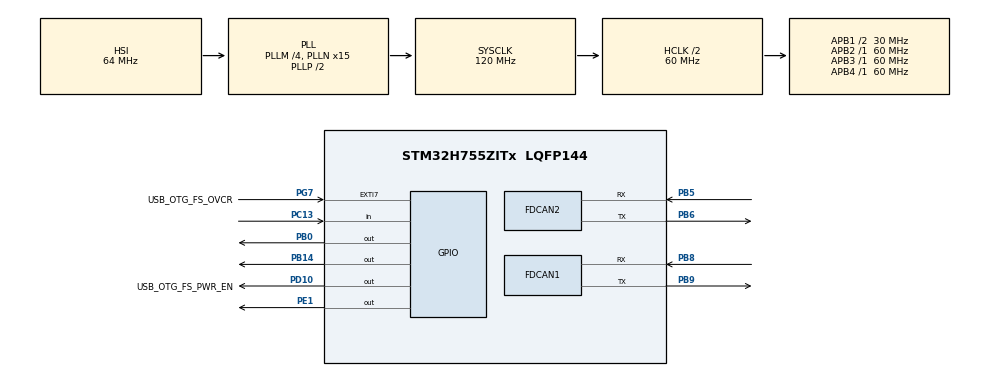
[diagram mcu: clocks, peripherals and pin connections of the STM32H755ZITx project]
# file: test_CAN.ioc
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CortexM4.IPs=FATFS_M4\:I,FREERTOS_M4\:I,IWDG2\:I,RCC,WWDG2\:I,DMA,BDMA,MDMA,NVIC2\:I,ETH,USART3,DEBUG,PDM2PCM_M4\:I,PWR,RESMGR_UTILITY,SYS_M4\:I,USB_DEVICE_M4\:I,USB_HOST_M4\:I,CORTEX_M4\:I,GPIO,OPENAMP_M4\:I,VREFBUF,NUCLEO-H755ZI-Q
CortexM7.IPs=FATFS_M7\:I,FREERTOS_M7\:I,IWDG1\:I,RCC\:I,WWDG1\:I,DMA\:I,BDMA\:I,MDMA\:I,NVIC1\:I,ETH\:I,USART3\:I,USB_OTG_FS\:I,SYS\:I,CORTEX_M7\:I,DEBUG\:I,PDM2PCM_M7\:I,PWR\:I,RESMGR_UTILITY\:I,USB_DEVICE_M7\:I,USB_HOST_M7\:I,GPIO\:I,OPENAMP_M7\:I,VREFBUF\:I,NUCLEO-H755ZI-Q\:I,MEMORYMAP\:I,FDCAN1\:I,FDCAN2\:I
FDCAN1.AutoRetransmission=DISABLE
FDCAN1.CalculateBaudRateNominal=500000
FDCAN1.CalculateTimeBitNominal=2000
FDCAN1.CalculateTimeQuantumNominal=100.0
FDCAN1.Mode=FDCAN_MODE_NORMAL
FDCAN1.NominalPrescaler=3
FDCAN1.NominalTimeSeg1=15
FDCAN1.NominalTimeSeg2=4
FDCAN1.ProtocolException=DISABLE
FDCAN1.RxFifo0ElmtsNbr=16
FDCAN1.RxFifo1ElmtsNbr=0
FDCAN1.StdFiltersNbr=1
FDCAN1.TxFifoQueueElmtsNbr=1
FDCAN2.CalculateBaudRateNominal=500000
FDCAN2.CalculateTimeBitNominal=2000
FDCAN2.CalculateTimeQuantumNominal=100.0
FDCAN2.MessageRAMOffset=17
FDCAN2.NominalPrescaler=3
FDCAN2.NominalTimeSeg1=15
FDCAN2.NominalTimeSeg2=4
FDCAN2.RxBuffersNbr=0
FDCAN2.RxFifo1ElmtsNbr=16
FDCAN2.StdFiltersNbr=1
FDCAN2.TxFifoQueueElmtsNbr=1
Mcu.Family=STM32H7
Mcu.Name=STM32H755ZITx
Mcu.Package=LQFP144
NUCLEO-H755ZI-Q.BUTTON=1
NUCLEO-H755ZI-Q.Bsp_Common_DEMO=true
NUCLEO-H755ZI-Q.LD1=true
NUCLEO-H755ZI-Q.LD2=true
NUCLEO-H755ZI-Q.LD3=true
NUCLEO-H755ZI-Q.VCP=true
NVIC1.EXTI15_10_IRQn=true\:0\:0\:false\:false\:true\:false\:true\:true
NVIC1.FDCAN1_IT0_IRQn=true\:0\:0\:false\:false\:true\:true\:true\:true
NVIC1.FDCAN2_IT1_IRQn=true\:0\:0\:false\:false\:true\:true\:true\:true
NVIC1.PriorityGroup=NVIC_PRIORITYGROUP_4
NVIC2.PriorityGroup=NVIC_PRIORITYGROUP_4
PA1.PinAttribute=CortexM7
PA1.Signal=ETH_REF_CLK
PA11.PinAttribute=CortexM7
PA11.Signal=USB_OTG_FS_DM
PA12.PinAttribute=CortexM7
PA12.Signal=USB_OTG_FS_DP
PA2.PinAttribute=CortexM7
PA2.Signal=ETH_MDIO
PA7.PinAttribute=CortexM7
PA7.Signal=ETH_CRS_DV
PA8.PinAttribute=CortexM7
PA8.Signal=USB_OTG_FS_SOF
PA9.PinAttribute=CortexM7
PA9.Signal=USB_OTG_FS_VBUS
PB0.Signal=GPIO_Output
PB13.PinAttribute=CortexM7
PB13.Signal=ETH_TXD1
PB14.Signal=GPIO_Output
PB5.Mode=FDCAN_Activate
PB5.PinAttribute=CortexM7
PB5.Signal=FDCAN2_RX
PB6.Mode=FDCAN_Activate
PB6.PinAttribute=CortexM7
PB6.Signal=FDCAN2_TX
PB8.GPIO_FM8=__NULL
PB8.GPIO_Mode=GPIO_MODE_AF_PP
PB8.GPIO_PuPd=GPIO_NOPULL
PB8.GPIO_Speed=GPIO_SPEED_FREQ_LOW
PB8.Mode=FDCAN_Activate
PB8.PinAttribute=CortexM7
PB8.Signal=FDCAN1_RX
PB9.Mode=FDCAN_Activate
PB9.PinAttribute=CortexM7
PB9.Signal=FDCAN1_TX
PC1.PinAttribute=CortexM7
PC1.Signal=ETH_MDC
PC13.Signal=GPIO_Input
PC14-OSC32_IN\ (OSC32_IN).PinAttribute=Free
PC14-OSC32_IN\ (OSC32_IN).Signal=RCC_OSC32_IN
PC15-OSC32_OUT\ (OSC32_OUT).PinAttribute=Free
PC15-OSC32_OUT\ (OSC32_OUT).Signal=RCC_OSC32_OUT
PC4.PinAttribute=CortexM7
PC4.Signal=ETH_RXD0
PC5.PinAttribute=CortexM7
PC5.Signal=ETH_RXD1
PD10.GPIO_Label=USB_OTG_FS_PWR_EN
PD10.PinAttribute=Free
PD10.Signal=GPIO_Output
PD8.Signal=USART3_TX
PD9.Signal=USART3_RX
PE1.Signal=GPIO_Output
PG11.PinAttribute=CortexM7
PG11.Signal=ETH_TX_EN
PG13.PinAttribute=CortexM7
PG13.Signal=ETH_TXD0
PG7.GPIO_Label=USB_OTG_FS_OVCR
PG7.PinAttribute=Free
PG7.Signal=GPXTI7
PH0-OSC_IN\ (PH0).PinAttribute=Free
PH0-OSC_IN\ (PH0).Signal=RCC_OSC_IN
PH1-OSC_OUT\ (PH1).PinAttribute=Free
PH1-OSC_OUT\ (PH1).Signal=RCC_OSC_OUT
ProjectManager.HeapSize=M4-0x200,M7-0x200
ProjectManager.StackSize=M4-0x400,M7-0x400
ProjectManager.TargetToolchain=STM32CubeIDE
RCC.ADCFreq_Value=480000000
RCC.APB1Freq_Value=30000000
RCC.APB2Freq_Value=60000000
RCC.APB3Freq_Value=60000000
RCC.APB4Freq_Value=60000000
RCC.CortexFreq_Value=60000000
RCC.D1CPRE=RCC_SYSCLK_DIV2
RCC.D2PPRE1=RCC_APB1_DIV2
RCC.DIVM1=4
RCC.DIVM2=4
RCC.DIVN1=15
RCC.DIVN2=60
RCC.DIVQ1=8
RCC.HCLKFreq_Value=60000000
RCC.PLL2FRACN=0
RCC.PLL3FRACN=0
RCC.PLLFRACN=0
RCC.SYSCLKFreq_VALUE=120000000
RCC.SYSCLKSource=RCC_SYSCLKSOURCE_PLLCLK
RCC.SupplySource=PWR_DIRECT_SMPS_SUPPLY
RCC.USBFreq_Value=30000000
VP_MEMORYMAP_VS_MEMORYMAP.Mode=CurAppReg
VP_NUCLEO-H755ZI-Q_VS_BSP_COMMON.Mode=COMMON
VP_SYS_M4_VS_Systick.Mode=SysTick
board=NUCLEO-H755ZI-Q

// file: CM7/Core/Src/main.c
/* USER CODE BEGIN Header */
/**
 ******************************************************************************
 * @file           : main.c
 * @brief          : Main program body
 ******************************************************************************
 * @attention
 *
 * Copyright (c) 2025 STMicroelectronics.
 * All rights reserved.
 *
 * This software is licensed under terms that can be found in the LICENSE file
 * in the root directory of this software component.
 * If no LICENSE file comes with this software, it is provided AS-IS.
 *
 ******************************************************************************
 */
/**
* Reference Sites:
* 1. https://github.com/STMicroelectronics/STM32CubeH7/blob/master/Projects/STM32H743I-EVAL/Examples/FDCAN/FDCAN_Classic_Frame_Networking/Src/main.c#L294
*
*/
/* USER CODE END Header */
#include "main.h"
#include <string.h>
/* USER CODE BEGIN PD */
#ifndef HSEM_ID_0
#define HSEM_ID_0 (0U) /* HW semaphore 0*/
#endif
#define NODE_ID_0 0x00
#define NODE_ID_1 0x01
#define NODE_ID_2 0x02
#define CMD_ID_SET_AXIS_STATE 0x007
#define CMD_ID_SET_CTRL_MODE  0x00B
#define CMD_ID_SET_INPUT_POS  0x00C
#define VEL_FF_FIXED 500  // int16 scaling (0.5 * 1000)
#define TORQUE_FF_FIXED 500  // int16 scaling (0.5 * 1000)

/* USER CODE END PD */
COM_InitTypeDef BspCOMInit;
__IO uint32_t BspButtonState = BUTTON_RELEASED;
FDCAN_HandleTypeDef hfdcan1; // 使用するFDCANのハンドル
FDCAN_HandleTypeDef hfdcan2;
/* USER CODE BEGIN PV */
uint8_t Num = 0x0;
FDCAN_TxHeaderTypeDef TxHeader1;
FDCAN_RxHeaderTypeDef RxHeader1;
FDCAN_TxHeaderTypeDef TxHeader2;
FDCAN_RxHeaderTypeDef RxHeader2;
uint8_t TxData1[8];
uint8_t RxData1[8];
uint8_t TxData2[8];
uint8_t RxData2[8];
/* USER CODE END PV */
void SystemClock_Config(void);
static void MX_GPIO_Init(void);
static void MX_FDCAN1_Init(void);
static void MX_FDCAN2_Init(void);
void send_Control_Mode(uint8_t node_id);
void send_CLOSED_LOOP_CONTROL(uint8_t node_id);
void send_position(uint8_t node_id, float pos);
void send_can_cmd(uint16_t id, uint8_t *data, uint8_t len);
void send_IDLE(uint8_t node_id);
int main(void)
{
/* USER CODE BEGIN Boot_Mode_Sequence_0 */
 int32_t timeout;
/* USER CODE END Boot_Mode_Sequence_0 */
/* USER CODE BEGIN Boot_Mode_Sequence_1 */
 /* Wait until CPU2 boots and enters in stop mode or timeout*/
 timeout = 0xFFFF;
//  while((__HAL_RCC_GET_FLAG(RCC_FLAG_D2CKRDY) != RESET) && (timeout-- > 0));
//  if ( timeout < 0 )
//  {
//  Error_Handler();
//  }
/* USER CODE END Boot_Mode_Sequence_1 */
 /* MCU Configuration--------------------------------------------------------*/
 /* Reset of all peripherals, Initializes the Flash interface and the Systick. */
 HAL_Init();
 /* Configure the system clock */
 SystemClock_Config();
/* USER CODE BEGIN Boot_Mode_Sequence_2 */
/* When system initialization is finished, Cortex-M7 will release Cortex-M4 by means of
HSEM notification */
/*HW semaphore Clock enable*/
__HAL_RCC_HSEM_CLK_ENABLE();
/*Take HSEM */
HAL_HSEM_FastTake(HSEM_ID_0);
/*Release HSEM in order to notify the CPU2(CM4)*/
HAL_HSEM_Release(HSEM_ID_0,0);
/* wait until CPU2 wakes up from stop mode */
timeout = 0xFFFF;
while((__HAL_RCC_GET_FLAG(RCC_FLAG_D2CKRDY) == RESET) && (timeout-- > 0));
if ( timeout < 0 )
{
Error_Handler();
}
/* USER CODE END Boot_Mode_Sequence_2 */
 /* Initialize all configured peripherals */
 MX_GPIO_Init();
 MX_FDCAN1_Init();
 MX_FDCAN2_Init();
 /* Initialize leds */
 BSP_LED_Init(LED_GREEN);
 BSP_LED_Init(LED_YELLOW);
 BSP_LED_Init(LED_RED);
 /* Initialize USER push-button, will be used to trigger an interrupt each time it's pressed.*/
 BSP_PB_Init(BUTTON_USER, BUTTON_MODE_EXTI);
 /* Initialize COM1 port (115200, 8 bits (7-bit data + 1 stop bit), no parity */
 BspCOMInit.BaudRate   = 115200;
 BspCOMInit.WordLength = COM_WORDLENGTH_8B;
 BspCOMInit.StopBits   = COM_STOPBITS_1;
 BspCOMInit.Parity     = COM_PARITY_NONE;
 BspCOMInit.HwFlowCtl  = COM_HWCONTROL_NONE;
 if (BSP_COM_Init(COM1, &BspCOMInit) != BSP_ERROR_NONE)
 {
   Error_Handler();
 }
 /* USER CODE BEGIN BSP */
 /* -- Sample board code to send message over COM1 port ---- */
 //printf("Welcome to STM32 world !\n\r");
 /* -- Sample board code to switch on leds ---- */
 BSP_LED_Off(LED_GREEN);
 BSP_LED_Off(LED_YELLOW);
 BSP_LED_Off(LED_RED);
 /* USER CODE END BSP */
 send_IDLE(NODE_ID_0);
 send_IDLE(NODE_ID_1);
 send_IDLE(NODE_ID_2);
 HAL_Delay(2000);
 send_Control_Mode(NODE_ID_0);
 send_Control_Mode(NODE_ID_1);
 send_Control_Mode(NODE_ID_2);
 HAL_Delay(2000);
 send_CLOSED_LOOP_CONTROL(NODE_ID_0);
 send_CLOSED_LOOP_CONTROL(NODE_ID_1);
 send_CLOSED_LOOP_CONTROL(NODE_ID_2);
 HAL_Delay(2000);
 float positions[] = {45.0, 90.0};
 float positions0[] = {0.0, 90.0};
 float positions1[] = {0.0, 180.0};
 float positions2[] = {0.0, 270.0};
 int pos_count = sizeof(positions) / sizeof(positions[0]);
 /* Infinite loop */
 /* USER CODE BEGIN WHILE */
 while (1)
 {
   /* -- Sample board code for User push-button in interrupt mode ---- */
   if (BspButtonState == BUTTON_PRESSED)
   {
     /* Update button state */
     BspButtonState = BUTTON_RELEASED;
     /* -- Sample board code to toggle leds ---- */
     BSP_LED_Toggle(LED_GREEN);
     BSP_LED_Toggle(LED_YELLOW);
     BSP_LED_Toggle(LED_RED);
     /* ..... Perform your action ..... */
   }
   /*
   if(HAL_FDCAN_AddMessageToTxFifoQ(&hfdcan1, &TxHeader1, TxData1) != HAL_OK) {
     Error_Handler();
   }
   else {
     BSP_LED_On(LED_GREEN);
     //printf("CAN1 Tx: %04x\n\r", Num);
   }
   if(HAL_FDCAN_AddMessageToTxFifoQ(&hfdcan2, &TxHeader2, TxData2) != HAL_OK) {
     Error_Handler();
   }
   else {
     BSP_LED_On(LED_GREEN);
     //printf("CAN2 Tx: %04x\n\r", Num);
   }
   */
   for (int i = 0; i < pos_count; i++) {
	 float pos0 = positions0[i] * (8.0f / 360.0f);
     float pos1 = positions1[i] * (8.0f / 360.0f);
     float pos2 = positions2[i] * (8.0f / 360.0f);
     //printf("Sending position: %f\n", pos);
     send_position(NODE_ID_0, pos0);
     send_position(NODE_ID_1, pos1);
     send_position(NODE_ID_2, pos2);
     HAL_Delay(5000);
   }

   BSP_LED_Off(LED_GREEN);
   BSP_LED_Off(LED_YELLOW);
   BSP_LED_Off(LED_RED);
   /* USER CODE END WHILE */
 }
}
void SystemClock_Config(void)
{
 RCC_OscInitTypeDef RCC_OscInitStruct = {0};
 RCC_ClkInitTypeDef RCC_ClkInitStruct = {0};
 /** Supply configuration update enable
 */
 HAL_PWREx_ConfigSupply(PWR_DIRECT_SMPS_SUPPLY);
 /** Configure the main internal regulator output voltage
 */
 __HAL_PWR_VOLTAGESCALING_CONFIG(PWR_REGULATOR_VOLTAGE_SCALE3);
 while(!__HAL_PWR_GET_FLAG(PWR_FLAG_VOSRDY)) {}
 /** Initializes the RCC Oscillators according to the specified parameters
 * in the RCC_OscInitTypeDef structure.
 */
 RCC_OscInitStruct.OscillatorType = RCC_OSCILLATORTYPE_HSI;
 RCC_OscInitStruct.HSIState = RCC_HSI_DIV1;
 RCC_OscInitStruct.HSICalibrationValue = RCC_HSICALIBRATION_DEFAULT;
 RCC_OscInitStruct.PLL.PLLState = RCC_PLL_ON;
 RCC_OscInitStruct.PLL.PLLSource = RCC_PLLSOURCE_HSI;
 RCC_OscInitStruct.PLL.PLLM = 4;
 RCC_OscInitStruct.PLL.PLLN = 15;
 RCC_OscInitStruct.PLL.PLLP = 2;
 RCC_OscInitStruct.PLL.PLLQ = 8;
 RCC_OscInitStruct.PLL.PLLR = 2;
 RCC_OscInitStruct.PLL.PLLRGE = RCC_PLL1VCIRANGE_3;
 RCC_OscInitStruct.PLL.PLLVCOSEL = RCC_PLL1VCOWIDE;
 RCC_OscInitStruct.PLL.PLLFRACN = 0;
 if (HAL_RCC_OscConfig(&RCC_OscInitStruct) != HAL_OK)
 {
   Error_Handler();
 }
 /** Initializes the CPU, AHB and APB buses clocks
 */
 RCC_ClkInitStruct.ClockType = RCC_CLOCKTYPE_HCLK|RCC_CLOCKTYPE_SYSCLK
                             |RCC_CLOCKTYPE_PCLK1|RCC_CLOCKTYPE_PCLK2
                             |RCC_CLOCKTYPE_D3PCLK1|RCC_CLOCKTYPE_D1PCLK1;
 RCC_ClkInitStruct.SYSCLKSource = RCC_SYSCLKSOURCE_PLLCLK;
 RCC_ClkInitStruct.SYSCLKDivider = RCC_SYSCLK_DIV2;
 RCC_ClkInitStruct.AHBCLKDivider = RCC_HCLK_DIV1;
 RCC_ClkInitStruct.APB3CLKDivider = RCC_APB3_DIV1;
 RCC_ClkInitStruct.APB1CLKDivider = RCC_APB1_DIV2;
 RCC_ClkInitStruct.APB2CLKDivider = RCC_APB2_DIV1;
 RCC_ClkInitStruct.APB4CLKDivider = RCC_APB4_DIV1;
 if (HAL_RCC_ClockConfig(&RCC_ClkInitStruct, FLASH_LATENCY_1) != HAL_OK)
 {
   Error_Handler();
 }
}
static void MX_FDCAN1_Init(void)
{
 hfdcan1.Instance = FDCAN1;
 hfdcan1.Init.FrameFormat = FDCAN_FRAME_CLASSIC;
 hfdcan1.Init.Mode = FDCAN_MODE_NORMAL;
 hfdcan1.Init.AutoRetransmission = DISABLE;
 hfdcan1.Init.TransmitPause = DISABLE;
 hfdcan1.Init.ProtocolException = DISABLE;
 hfdcan1.Init.NominalPrescaler = 3;
 hfdcan1.Init.NominalSyncJumpWidth = 1;
 hfdcan1.Init.NominalTimeSeg1 = 15;
 hfdcan1.Init.NominalTimeSeg2 = 4;
 hfdcan1.Init.DataPrescaler = 1;
 hfdcan1.Init.DataSyncJumpWidth = 1;
 hfdcan1.Init.DataTimeSeg1 = 1;
 hfdcan1.Init.DataTimeSeg2 = 1;
 hfdcan1.Init.MessageRAMOffset = 0;
 hfdcan1.Init.StdFiltersNbr = 1;
 hfdcan1.Init.ExtFiltersNbr = 0;
 hfdcan1.Init.RxFifo0ElmtsNbr = 16;
 hfdcan1.Init.RxFifo0ElmtSize = FDCAN_DATA_BYTES_8;
 hfdcan1.Init.RxFifo1ElmtsNbr = 0;
 hfdcan1.Init.RxFifo1ElmtSize = FDCAN_DATA_BYTES_8;
 hfdcan1.Init.RxBuffersNbr = 0;
 hfdcan1.Init.RxBufferSize = FDCAN_DATA_BYTES_8;
 hfdcan1.Init.TxEventsNbr = 0;
 hfdcan1.Init.TxBuffersNbr = 0;
 hfdcan1.Init.TxFifoQueueElmtsNbr = 1;
 hfdcan1.Init.TxFifoQueueMode = FDCAN_TX_FIFO_OPERATION;
 hfdcan1.Init.TxElmtSize = FDCAN_DATA_BYTES_8;
 if (HAL_FDCAN_Init(&hfdcan1) != HAL_OK)
 {
   Error_Handler();
 }
 /* USER CODE BEGIN FDCAN1_Init 2 */
 FDCAN_FilterTypeDef sFilterConfig;
 sFilterConfig.IdType = FDCAN_STANDARD_ID;
 sFilterConfig.FilterIndex = 0;
 sFilterConfig.FilterType = FDCAN_FILTER_MASK;
 sFilterConfig.FilterConfig = FDCAN_FILTER_TO_RXFIFO0;
 sFilterConfig.FilterID1 = 0x000;
 sFilterConfig.FilterID2 = 0x000;
 if(HAL_FDCAN_ConfigFilter(&hfdcan1, &sFilterConfig) != HAL_OK) Error_Handler();
 //HAL_FDCAN_ConfigGlobalFilter(&hfdcan1, FDCAN_REJECT, FDCAN_REJECT, FDCAN_REJECT_REMOTE, FDCAN_REJECT_REMOTE);
 if(HAL_FDCAN_ConfigInterruptLines(&hfdcan1, FDCAN_IT_RX_FIFO0_NEW_MESSAGE, FDCAN_INTERRUPT_LINE0))
 {
   //printf("Failed Setting Interrupt Line 0");
   Error_Handler();
 }
 if(HAL_FDCAN_Start(&hfdcan1) != HAL_OK) Error_Handler();
 if(HAL_FDCAN_ActivateNotification(&hfdcan1, FDCAN_IT_RX_FIFO0_NEW_MESSAGE, 0) != HAL_OK) Error_Handler();
 TxHeader1.Identifier = 0x007; // 送信するID GIM8108-8だとCANID=0で007 デフォルトは321
 TxHeader1.IdType = FDCAN_STANDARD_ID;
 TxHeader1.TxFrameType = FDCAN_DATA_FRAME;
 TxHeader1.DataLength = FDCAN_DLC_BYTES_8;
 TxHeader1.ErrorStateIndicator = FDCAN_ESI_ACTIVE;
 TxHeader1.BitRateSwitch = FDCAN_BRS_OFF;
 TxHeader1.FDFormat = FDCAN_CLASSIC_CAN;
 TxHeader1.TxEventFifoControl = FDCAN_NO_TX_EVENTS;
 TxHeader1.MessageMarker = 0;
 /* USER CODE END FDCAN1_Init 2 */
}
static void MX_FDCAN2_Init(void)
{
 hfdcan2.Instance = FDCAN2;
 hfdcan2.Init.FrameFormat = FDCAN_FRAME_CLASSIC;
 hfdcan2.Init.Mode = FDCAN_MODE_NORMAL;
 hfdcan2.Init.AutoRetransmission = DISABLE;
 hfdcan2.Init.TransmitPause = DISABLE;
 hfdcan2.Init.ProtocolException = DISABLE;
 hfdcan2.Init.NominalPrescaler = 3;
 hfdcan2.Init.NominalSyncJumpWidth = 1;
 hfdcan2.Init.NominalTimeSeg1 = 15;
 hfdcan2.Init.NominalTimeSeg2 = 4;
 hfdcan2.Init.DataPrescaler = 1;
 hfdcan2.Init.DataSyncJumpWidth = 1;
 hfdcan2.Init.DataTimeSeg1 = 1;
 hfdcan2.Init.DataTimeSeg2 = 1;
 hfdcan2.Init.MessageRAMOffset = 17;
 hfdcan2.Init.StdFiltersNbr = 1;
 hfdcan2.Init.ExtFiltersNbr = 0;
 hfdcan2.Init.RxFifo0ElmtsNbr = 0;
 hfdcan2.Init.RxFifo0ElmtSize = FDCAN_DATA_BYTES_8;
 hfdcan2.Init.RxFifo1ElmtsNbr = 16;
 hfdcan2.Init.RxFifo1ElmtSize = FDCAN_DATA_BYTES_8;
 hfdcan2.Init.RxBuffersNbr = 0;
 hfdcan2.Init.RxBufferSize = FDCAN_DATA_BYTES_8;
 hfdcan2.Init.TxEventsNbr = 0;
 hfdcan2.Init.TxBuffersNbr = 0;
 hfdcan2.Init.TxFifoQueueElmtsNbr = 1;
 hfdcan2.Init.TxFifoQueueMode = FDCAN_TX_FIFO_OPERATION;
 hfdcan2.Init.TxElmtSize = FDCAN_DATA_BYTES_8;
 if (HAL_FDCAN_Init(&hfdcan2) != HAL_OK)
 {
   Error_Handler();
 }
 /* USER CODE BEGIN FDCAN2_Init 2 */
 FDCAN_FilterTypeDef sFilterConfig;
 sFilterConfig.IdType = FDCAN_STANDARD_ID;
 sFilterConfig.FilterIndex = 0;
 sFilterConfig.FilterType = FDCAN_FILTER_MASK;
 sFilterConfig.FilterConfig = FDCAN_FILTER_TO_RXFIFO1;
 sFilterConfig.FilterID1 = 0x000;
 sFilterConfig.FilterID2 = 0x000;
 if(HAL_FDCAN_ConfigFilter(&hfdcan2, &sFilterConfig) != HAL_OK) Error_Handler();
 //HAL_FDCAN_ConfigGlobalFilter(&hfdcan2, FDCAN_REJECT, FDCAN_REJECT, FDCAN_REJECT_REMOTE, FDCAN_REJECT_REMOTE);
 // Interrupt Line の設定をしてみる（DefaultだとLine０をEnableにするので）
   // stm32h7xx_hal_fdcan.c line:4991
 if(HAL_FDCAN_ConfigInterruptLines(&hfdcan2, FDCAN_IT_RX_FIFO1_NEW_MESSAGE, FDCAN_INTERRUPT_LINE1))
 {
   //printf("Failed Setting Interrupt Line 1");
   Error_Handler();
 }
 if(HAL_FDCAN_Start(&hfdcan2) != HAL_OK) Error_Handler();
 //SET_BIT(hfdcan2.Instance->CCCR, FDCAN_CCCR_CCE);
 if(HAL_FDCAN_ActivateNotification(&hfdcan2, FDCAN_IT_RX_FIFO1_NEW_MESSAGE, 0) != HAL_OK) Error_Handler();
 TxHeader2.Identifier = 0x654;
 TxHeader2.IdType = FDCAN_STANDARD_ID;
 TxHeader2.TxFrameType = FDCAN_DATA_FRAME;
 TxHeader2.DataLength = FDCAN_DLC_BYTES_8;
 TxHeader2.ErrorStateIndicator = FDCAN_ESI_ACTIVE;
 TxHeader2.BitRateSwitch = FDCAN_BRS_OFF;
 TxHeader2.FDFormat = FDCAN_CLASSIC_CAN;
 TxHeader2.TxEventFifoControl = FDCAN_NO_TX_EVENTS;
 TxHeader2.MessageMarker = 0;
 /* USER CODE END FDCAN2_Init 2 */
}
static void MX_GPIO_Init(void)
{
 GPIO_InitTypeDef GPIO_InitStruct = {0};
 /* GPIO Ports Clock Enable */
 __HAL_RCC_GPIOC_CLK_ENABLE();
 __HAL_RCC_GPIOA_CLK_ENABLE();
 __HAL_RCC_GPIOB_CLK_ENABLE();
 __HAL_RCC_GPIOG_CLK_ENABLE();
 /*Configure GPIO pins : PC1 PC4 PC5 */
 GPIO_InitStruct.Pin = GPIO_PIN_1|GPIO_PIN_4|GPIO_PIN_5;
 GPIO_InitStruct.Mode = GPIO_MODE_AF_PP;
 GPIO_InitStruct.Pull = GPIO_NOPULL;
 GPIO_InitStruct.Speed = GPIO_SPEED_FREQ_LOW;
 GPIO_InitStruct.Alternate = GPIO_AF11_ETH;
 HAL_GPIO_Init(GPIOC, &GPIO_InitStruct);
 /*Configure GPIO pins : PA1 PA2 PA7 */
 GPIO_InitStruct.Pin = GPIO_PIN_1|GPIO_PIN_2|GPIO_PIN_7;
 GPIO_InitStruct.Mode = GPIO_MODE_AF_PP;
 GPIO_InitStruct.Pull = GPIO_NOPULL;
 GPIO_InitStruct.Speed = GPIO_SPEED_FREQ_LOW;
 GPIO_InitStruct.Alternate = GPIO_AF11_ETH;
 HAL_GPIO_Init(GPIOA, &GPIO_InitStruct);
 /*Configure GPIO pin : PB13 */
 GPIO_InitStruct.Pin = GPIO_PIN_13;
 GPIO_InitStruct.Mode = GPIO_MODE_AF_PP;
 GPIO_InitStruct.Pull = GPIO_NOPULL;
 GPIO_InitStruct.Speed = GPIO_SPEED_FREQ_LOW;
 GPIO_InitStruct.Alternate = GPIO_AF11_ETH;
 HAL_GPIO_Init(GPIOB, &GPIO_InitStruct);
 /*Configure GPIO pins : PA8 PA11 PA12 */
 GPIO_InitStruct.Pin = GPIO_PIN_8|GPIO_PIN_11|GPIO_PIN_12;
 GPIO_InitStruct.Mode = GPIO_MODE_AF_PP;
 GPIO_InitStruct.Pull = GPIO_NOPULL;
 GPIO_InitStruct.Speed = GPIO_SPEED_FREQ_LOW;
 GPIO_InitStruct.Alternate = GPIO_AF10_OTG1_FS;
 HAL_GPIO_Init(GPIOA, &GPIO_InitStruct);
 /*Configure GPIO pins : PG11 PG13 */
 GPIO_InitStruct.Pin = GPIO_PIN_11|GPIO_PIN_13;
 GPIO_InitStruct.Mode = GPIO_MODE_AF_PP;
 GPIO_InitStruct.Pull = GPIO_NOPULL;
 GPIO_InitStruct.Speed = GPIO_SPEED_FREQ_LOW;
 GPIO_InitStruct.Alternate = GPIO_AF11_ETH;
 HAL_GPIO_Init(GPIOG, &GPIO_InitStruct);
}
/* USER CODE BEGIN 4 */
void HAL_FDCAN_RxFifo0Callback(FDCAN_HandleTypeDef *hfdcan, uint32_t RxFifo0ITs)  // can1, can2 で、RxFIFO0とFIFO1を使い分ける感じのほうが良いのか？
{
	//printf("CB0\n");
 // if can1
 if((RxFifo0ITs & FDCAN_IT_RX_FIFO0_NEW_MESSAGE) != RESET)
 {
	if(HAL_FDCAN_GetRxMessage(hfdcan, FDCAN_RX_FIFO0, &RxHeader1, RxData1) != HAL_OK)
	{
	  Error_Handler();
	}
	if(RxHeader1.Identifier == 0x007) // 0x123
   {
     BSP_LED_On(LED_YELLOW);
     //Num = RxData1[0];
     //printf("CAN1 Rx: %04x\n\r", Num);
     //printf("RxData1: ");
     for(int i = 0; i < 8; i++)
     {
       //printf("%02X ", RxData1[i]);
     }
     //printf("\n\r");
   }
   else if(RxHeader1.Identifier == 0x007) // 0x007
	{
	  BSP_LED_On(LED_YELLOW);
	  //Num = RxData1[0];
	  //printf("CAN1 Rx: %04x\n\r", Num);
     //printf("RxData1: ");
     for(int i = 0; i < 8; i++)
     {
       //printf("%02X ", RxData1[i]);
     }
     //printf("\n\r");
	}
	if(HAL_FDCAN_ActivateNotification(hfdcan, FDCAN_IT_RX_FIFO0_NEW_MESSAGE, 0) != HAL_OK)
	{
	  Error_Handler();
	}
 }
}
void HAL_FDCAN_RxFifo1Callback(FDCAN_HandleTypeDef *hfdcan, uint32_t RxFifo1ITs)
{
 //printf("CB1\n");
 // if can2
 if((RxFifo1ITs & FDCAN_IT_RX_FIFO1_NEW_MESSAGE) != RESET)
 {
   if(HAL_FDCAN_GetRxMessage(hfdcan, FDCAN_RX_FIFO1, &RxHeader2, RxData2) != HAL_OK)
   {
     //printf("Get CAN2 Rx Message");
     Error_Handler();
   }
   if(RxHeader2.Identifier == 0x456)
   {
     BSP_LED_On(LED_YELLOW);
     Num = RxData2[0];
     //printf("CAN2 Rx: %04x\n\r", Num);
   }
   if(HAL_FDCAN_ActivateNotification(hfdcan, FDCAN_IT_RX_FIFO1_NEW_MESSAGE, 0) != HAL_OK)
   {
     Error_Handler();
   }
 }
}
/* USER CODE END 4 */
/**
 * @brief  BSP Push Button callback
 * @param  Button Specifies the pressed button
 * @retval None
 */
void BSP_PB_Callback(Button_TypeDef Button)
{
 if (Button == BUTTON_USER)
 {
   BspButtonState = BUTTON_PRESSED;
 }
}
void Error_Handler(void)
{
 /* USER CODE BEGIN Error_Handler_Debug */
 /* User can add his own implementation to report the HAL error return state */
 __disable_irq();
 BSP_LED_On(LED_RED);
 // if can1
 //printf("ERROR CODE: %08lx\n\r", hfdcan1.ErrorCode);
 // if can2
 //printf("ERROR CODE: %08lx\n\r", hfdcan2.ErrorCode);
 //while (1)
 //{
 //}
 /* USER CODE END Error_Handler_Debug */
}
//CANメッセージ送信関数

void send_can_cmd(uint16_t id, uint8_t *data, uint8_t len) {
   FDCAN_TxHeaderTypeDef TxHeader1;
   TxHeader1.Identifier = id; //0x123 static void MX_FDCAN1_Init(void)で0x123に固定されているかも
   TxHeader1.IdType = FDCAN_STANDARD_ID;
   TxHeader1.TxFrameType = FDCAN_DATA_FRAME;
   TxHeader1.DataLength = FDCAN_DLC_BYTES_8;
   TxHeader1.ErrorStateIndicator = FDCAN_ESI_ACTIVE;
   TxHeader1.BitRateSwitch = FDCAN_BRS_OFF;
   TxHeader1.FDFormat = FDCAN_CLASSIC_CAN;
   TxHeader1.TxEventFifoControl = FDCAN_NO_TX_EVENTS;
   TxHeader1.MessageMarker = 0;
   if (HAL_FDCAN_AddMessageToTxFifoQ(&hfdcan1, &TxHeader1, data) != HAL_OK) {
       Error_Handler();
   } else {
       printf("[CAN] Sent: ID=0x%03X Data=", id);
       for (int i = 0; i < len; i++) {
           printf("%02X ", data[i]);
       }
       printf("\n\r");
   }
   HAL_Delay(50);
}

// 状態をCLOSED_LOOP_CONTROLに設定
void send_CLOSED_LOOP_CONTROL(uint8_t node_id) {
 uint32_t can_id;
 can_id = ((node_id << 5) + CMD_ID_SET_AXIS_STATE);
 //uint8_t test_data[8] = {0x08, 0x00, 0x00, 0x00, 0x00, 0x00, 0x00, 0x00};
 TxData1[0] = 0x08;
 TxData1[1] = 0x00;
 TxData1[2] = 0x00;
 TxData1[3] = 0x00;
 TxData1[4] = 0x00;
 TxData1[5] = 0x00;
 TxData1[6] = 0x00;
 TxData1[7] = 0x00;
 send_can_cmd(can_id, TxData1, 8); // 0x123はCANのID
}

// アイドル状態に設定
void send_IDLE(uint8_t node_id) {
 uint32_t can_id;
 can_id = ((node_id << 5) + CMD_ID_SET_AXIS_STATE);
 TxData1[0] = 0x01;
 TxData1[1] = 0x00;
 TxData1[2] = 0x00;
 TxData1[3] = 0x00;
 TxData1[4] = 0x00;
 TxData1[5] = 0x00;
 TxData1[6] = 0x00;
 TxData1[7] = 0x00;
 send_can_cmd(can_id, TxData1, 8); // 0x123はCANのID
}

// 制御モード設定（Control_Mode=3, Input_Mode=3）
void send_Control_Mode(uint8_t node_id){
 uint32_t can_id;
 can_id = ((node_id << 5) + CMD_ID_SET_CTRL_MODE);
 TxData1[0] = 0x03;
 TxData1[1] = 0x00;
 TxData1[2] = 0x00;
 TxData1[3] = 0x00;
 TxData1[4] = 0x03;
 TxData1[5] = 0x00;
 TxData1[6] = 0x00;
 TxData1[7] = 0x00;
 send_can_cmd(can_id, TxData1, 8); // 0x123はCANのID
}

void send_position(uint8_t node_id, float pos) {
 uint32_t can_id;
 can_id = ((node_id << 5) + CMD_ID_SET_INPUT_POS);
 uint8_t TxData1[8];
 memcpy(TxData1, &pos, 4);  // Little-endian float to 4 bytes
 TxData1[4] = (VEL_FF_FIXED & 0xFF);
 TxData1[5] = (VEL_FF_FIXED >> 8) & 0xFF;
 TxData1[6] = (TORQUE_FF_FIXED & 0xFF);
 TxData1[7] = (TORQUE_FF_FIXED >> 8) & 0xFF;
 send_can_cmd(can_id, TxData1, 8);
 //printf("[CAN] Sent position: %.2f (vel_ff=0.5, torque_ff=0.5)\n", pos);
}
